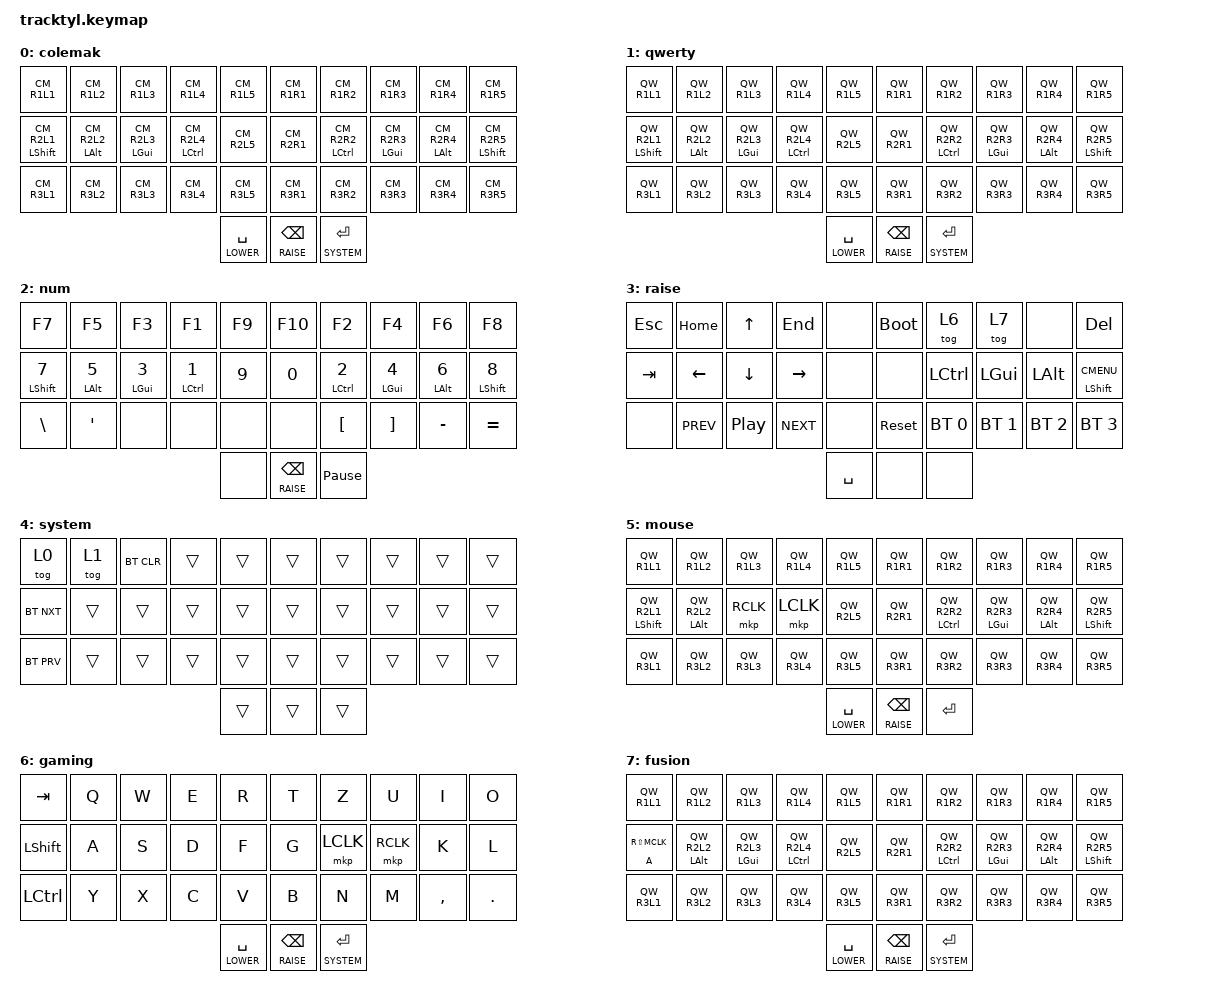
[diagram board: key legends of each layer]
#include <behaviors.dtsi>
#include <dt-bindings/zmk/keys.h>
#include <dt-bindings/zmk/bt.h>
#include <dt-bindings/zmk/outputs.h>
#include <dt-bindings/zmk/mouse.h>
#include <zephyr/dt-bindings/input/input-event-codes.h>
#include "layouts/alphas.h"
#include "telemetry/split_battery.dtsi"

#define BASE_COLEMAK 0
#define BASE_QWERTY 1
#define LOWER 2
#define RAISE 3
#define SYSTEM 4
#define MOUSE 5
#define GAMING 6
#define FUSION 7

/* Alpha row origins for the shared combo include (3x5 split) */
#define UML_ROW1 0
#define UML_ROW2 10
#define UML_ROW3 20

/ {
    behaviors {
#include "behaviors/homerow.dtsi"

        mlt: mouse_layer_tap {
            compatible = "zmk,behavior-hold-tap";
            #binding-cells = <2>;
            tapping-term-ms = <200>;
            quick-tap-ms = <0>;
            flavor = "balanced";
            bindings = <&mo>, <&mkp>;
        };

        bmm: balanced_mouserow_mods {
            compatible = "zmk,behavior-hold-tap";
            #binding-cells = <2>;
            tapping-term-ms = <200>;
            quick-tap-ms = <0>;
            flavor = "balanced";
            bindings = <&kp>, <&mkp>;
        };
    };

    combos {
        compatible = "zmk,combos";
        combo_esc {
            timeout-ms = <50>;
            key-positions = <0 1>;
            bindings = <&kp ESC>;
        };
        combo_middleclick {
            timeout-ms = <50>;
            key-positions = <12 13>;
            bindings = <&mlt 2 MCLK>;
        };
        combo_middlepress {
            timeout-ms = <50>;
            key-positions = <16 17>;
            bindings = <&mkp MCLK>;
        };
        combo_bootload {
            timeout-ms = <50>;
            key-positions = <0 30>;
            bindings = <&bootloader>;
        };
        combo_sysreset {
            timeout-ms = <50>;
            key-positions = <0 24>;
            bindings = <&sys_reset>;
        };
        combo_base_flip {
            timeout-ms = <50>;
            key-positions = <0 9>;
            bindings = <&tog BASE_QWERTY>;
        };

#include "combos/umlauts.dtsi"
    };

    input_processors {
        x_to_hscroll_mapper: x_to_hscroll_mapper {
            compatible = "zmk,input-processor-code-mapper";
            #input-processor-cells = <0>;
            type = <INPUT_EV_REL>;
            map = <INPUT_REL_X INPUT_REL_HWHEEL>;
        };
        y_to_vscroll_mapper: y_to_vscroll_mapper {
            compatible = "zmk,input-processor-code-mapper";
            #input-processor-cells = <0>;
            type = <INPUT_EV_REL>;
            map = <INPUT_REL_Y INPUT_REL_WHEEL>;
        };
    };

    trackball_listener {
        compatible = "zmk,input-listener";
        device = <&trackball>;
        input-processors = <&zip_xy_scaler 1 5>,<&zip_temp_layer 5 250>;
        /*
         * Overrides are evaluated top to bottom and the first match wins
         * (later overrides and the base processors are skipped). scroll_h is
         * declared first on purpose: with LOWER and RAISE both held — scroll
         * combo plus the right thumb — RAISE wins, so adding the layer key to
         * a vertical scroll turns it horizontal.
         */
        scroll_h {
            layers = <3>;
            input-processors = <&zip_xy_scaler 1 100>, <&x_to_hscroll_mapper>;
        };
        scroll_v {
            layers = <2>;
            input-processors = <&zip_xy_scaler 1 100>, <&y_to_vscroll_mapper>, <&zip_scroll_transform (INPUT_TRANSFORM_Y_INVERT)>;
        };
    };

    keymap {
        compatible = "zmk,keymap";

        /* 0: Colemak — default base */
        base_colemak {
            label = "colemak";
            bindings = <
                &kp CM_R1L1  &kp CM_R1L2  &kp CM_R1L3  &kp CM_R1L4  &kp CM_R1L5    &kp CM_R1R1  &kp CM_R1R2  &kp CM_R1R3  &kp CM_R1R4  &kp CM_R1R5
                &bhm LSHIFT CM_R2L1  &bhm LALT CM_R2L2  &bhm LGUI CM_R2L3  &bhm LCTRL CM_R2L4  &kp CM_R2L5    &kp CM_R2R1  &bhm LCTRL CM_R2R2  &bhm LGUI CM_R2R3  &bhm LALT CM_R2R4  &bhm LSHIFT CM_R2R5
                &kp CM_R3L1  &kp CM_R3L2  &kp CM_R3L3  &kp CM_R3L4  &kp CM_R3L5    &kp CM_R3R1  &kp CM_R3R2  &kp CM_R3R3  &kp CM_R3R4  &kp CM_R3R5
                                                                &lt LOWER SPACE  &lt RAISE BSPC  &lt SYSTEM ENTER
            >;
        };

        /* 1: QWERTY — toggle via chord (Q+P) or &tog BASE_QWERTY on SYSTEM */
        base_qwerty {
            label = "qwerty";
            bindings = <
                &kp QW_R1L1  &kp QW_R1L2  &kp QW_R1L3  &kp QW_R1L4  &kp QW_R1L5    &kp QW_R1R1  &kp QW_R1R2  &kp QW_R1R3  &kp QW_R1R4  &kp QW_R1R5
                &bhm LSHIFT QW_R2L1  &bhm LALT QW_R2L2  &bhm LGUI QW_R2L3  &bhm LCTRL QW_R2L4  &kp QW_R2L5    &kp QW_R2R1  &bhm LCTRL QW_R2R2  &bhm LGUI QW_R2R3  &bhm LALT QW_R2R4  &bhm LSHIFT QW_R2R5
                &kp QW_R3L1  &kp QW_R3L2  &kp QW_R3L3  &kp QW_R3L4  &kp QW_R3L5    &kp QW_R3R1  &kp QW_R3R2  &kp QW_R3R3  &kp QW_R3R4  &kp QW_R3R5
                                                                &lt LOWER SPACE  &lt RAISE BSPC  &lt SYSTEM ENTER
            >;
        };

        /* 2: LOWER / NUM — shared */
        lower_layer {
            label = "num";
            bindings = <
                &kp F7  &kp F5  &kp F3  &kp F1  &kp F9    &kp F10  &kp F2  &kp F4  &kp F6  &kp F8
                &bhm LSHIFT N7 &bhm LALT N5 &bhm LGUI N3 &bhm LCTRL N1 &kp N9   &kp N0  &bhm LCTRL N2 &bhm LGUI N4 &bhm LALT N6 &bhm LSHIFT N8
                &kp BSLH &kp SQT &none &none &none    &none  &kp LBKT &kp RBKT &kp MINUS &kp EQUAL
                                                                &none  &lt RAISE BSPC  &kp PAUSE_BREAK
            >;
        };

        /* 3: RAISE / NAV — unified */
        raise_layer {
            label = "raise";
            bindings = <
                &kp ESC &kp HOME &kp UP &kp END &none    &bootloader &tog 6 &tog 7 &none &kp DEL
                &kp TAB &kp LEFT &kp DOWN &kp RIGHT &none    &none &kp LCTRL &kp LGUI &kp LALT &bhm LSHIFT K_CMENU
                &none &kp C_PREV &kp C_PP &kp C_NEXT &none    &sys_reset &bt BT_SEL 0 &bt BT_SEL 1 &bt BT_SEL 2 &bt BT_SEL 3
                                                                &kp SPACE &none &none
            >;
        };

        /* 4: SYSTEM — includes Colemak/QWERTY toggle */
        system_layer {
            label = "system";
            bindings = <
                &tog 0 &tog 1 &bt BT_CLR &trans &trans   &trans &trans &trans &trans &trans
                &bt BT_NXT &trans &trans &trans &trans   &trans &trans &trans &trans &trans
                &bt BT_PRV &trans &trans &trans &trans   &trans &trans &trans &trans &trans
                                                                &trans &trans &trans
            >;
        };

        /* 5: MOUSE */
        mouse_layer {
            label = "mouse";
            bindings = <
                &kp QW_R1L1  &kp QW_R1L2  &kp QW_R1L3  &kp QW_R1L4  &kp QW_R1L5    &kp QW_R1R1  &kp QW_R1R2  &kp QW_R1R3  &kp QW_R1R4  &kp QW_R1R5
                &bhm LSHIFT QW_R2L1  &bhm LALT QW_R2L2  &mkp RCLK &mkp LCLK &kp QW_R2L5    &kp QW_R2R1  &bhm LCTRL QW_R2R2  &bhm LGUI QW_R2R3  &bhm LALT QW_R2R4  &bhm LSHIFT QW_R2R5
                &kp QW_R3L1  &kp QW_R3L2  &kp QW_R3L3  &kp QW_R3L4  &kp QW_R3L5    &kp QW_R3R1  &kp QW_R3R2  &kp QW_R3R3  &kp QW_R3R4  &kp QW_R3R5
                                                                &lt LOWER SPACE  &lt RAISE BSPC  &kp ENTER
            >;
        };

        gaming_layer {
            label = "gaming";
            bindings = <
                &kp TAB &kp Q &kp W &kp E &kp R    &kp T &kp Z &kp U &kp I &kp O
                &kp LSHIFT &kp A &kp S &kp D &kp F    &kp G &mkp LCLK &mkp RCLK &kp K &kp L
                &kp LCTRL &kp Y &kp X &kp C &kp V    &kp B &kp N &kp M &kp CMMA &kp DOT
                                                                &lt LOWER SPACE  &lt RAISE BSPC  &lt SYSTEM ENTER
            >;
        };

        fusion_layer {
            label = "fusion";
            bindings = <
                &kp QW_R1L1  &kp QW_R1L2  &kp QW_R1L3  &kp QW_R1L4  &kp QW_R1L5    &kp QW_R1R1  &kp QW_R1R2  &kp QW_R1R3  &kp QW_R1R4  &kp QW_R1R5
                &bmm A RS(MCLK) &bhm LALT QW_R2L2  &bhm LGUI QW_R2L3  &bhm LCTRL QW_R2L4  &kp QW_R2L5    &kp QW_R2R1  &bhm LCTRL QW_R2R2  &bhm LGUI QW_R2R3  &bhm LALT QW_R2R4  &bhm LSHIFT QW_R2R5
                &kp QW_R3L1  &kp QW_R3L2  &kp QW_R3L3  &kp QW_R3L4  &kp QW_R3L5    &kp QW_R3R1  &kp QW_R3R2  &kp QW_R3R3  &kp QW_R3R4  &kp QW_R3R5
                                                                &lt LOWER SPACE  &lt RAISE BSPC  &lt SYSTEM ENTER
            >;
        };
    };
};
